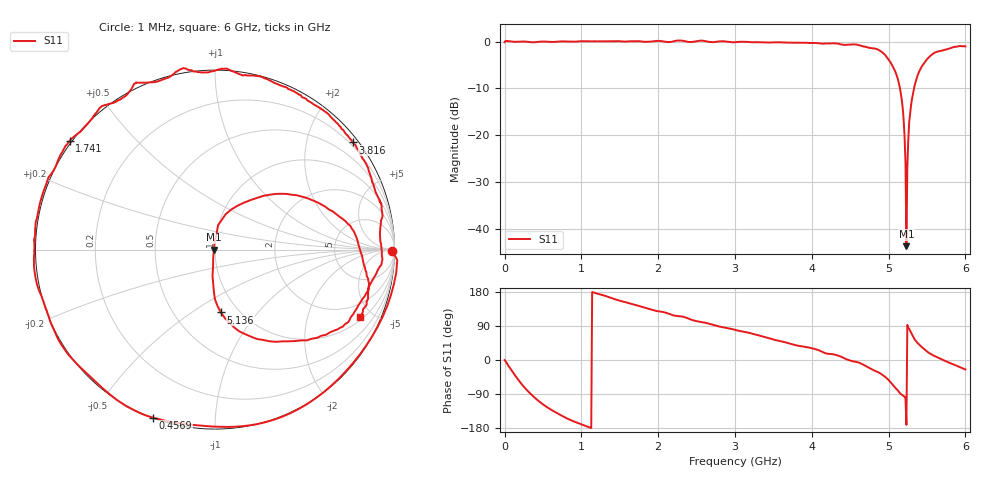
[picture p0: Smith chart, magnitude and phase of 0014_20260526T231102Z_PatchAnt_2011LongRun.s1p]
# Hz S RI R 50
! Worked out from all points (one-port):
!   501 points, 1 MHz to 6 GHz, reference 50 ohm
!   lowest |S11| = -43.8 dB at 5.232 GHz (marker M1), VSWR 1.01, Z = 49.4 - j0.0999 ohm
!   |S11| at or under -10 dB: 5.149 GHz to 5.332 GHz (183 MHz wide, 3.49 % of centre)
!   S11 on the Smith chart (normalised r, x): 1 MHz: open; 456.9 MHz: 0.00, -0.70; 1.741 GHz: -0.01, +0.33; 3.816 GHz: 0.13, +2.91; 5.136 GHz: 0.83, -0.66; 6 GHz: 1.18, -4.22
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1000000  0.9879 -0.00535
8.4986e7  0.9058 -0.4309
2.28962e8  0.4208 -0.9111
3.12948e8  0.1023 -0.9873
4.56924e8  -0.3471 -0.9356
7.56874e8  -0.8559 -0.5299
1.068822e9  -1.009 -0.0887
1.50075e9  -0.9265 0.4049
1.74071e9  -0.809 0.607
2.256624e9  -0.4486 0.9248
3.0005e9  0.1768 0.97
3.756374e9  0.7365 0.6378
3.816364e9  0.7683 0.5972
4.308282e9  0.9273 0.231
4.50025e9  0.9295 -0.0214
4.872188e9  0.6818 -0.4446
5.028162e9  0.3051 -0.5109
5.136144e9  0.0332 -0.3504
5.184136e9  -0.01 -0.1934
5.196134e9  -0.014 -0.1456
5.208132e9  -0.0109 -0.0951
5.232128e9  -0.00639 -0.00101
5.256124e9  0.00849 0.0868
5.268122e9  0.0171 0.1359
5.292118e9  0.0598 0.1979
5.412098e9  0.3989 0.3102
5.628062e9  0.7715 0.1049
6e9  0.8067 -0.3747
